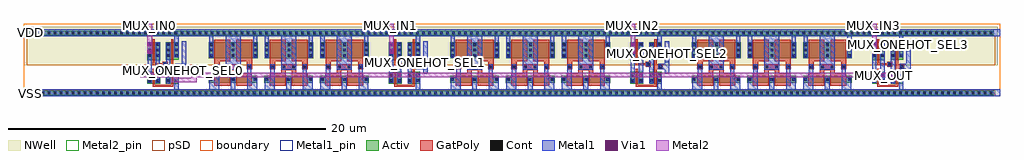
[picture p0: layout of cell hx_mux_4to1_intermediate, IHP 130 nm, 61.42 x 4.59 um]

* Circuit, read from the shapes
.subckt hx_mux_4to1_intermediate MUX_IN0 MUX_IN1 MUX_IN2 MUX_IN3 MUX_ONEHOT_SEL0 MUX_ONEHOT_SEL1 MUX_ONEHOT_SEL2 MUX_ONEHOT_SEL3 MUX_OUT VDD VSS
XM1 MUX_OUT MUX_ONEHOT_SEL0 MUX_IN0 VSS sg13_lv_nmos w=0.74u l=0.13u
XM2 VSS MUX_ONEHOT_SEL0 n1 VSS sg13_lv_nmos w=0.74u l=0.13u
XM3 VSS VDD VSS VSS sg13_lv_nmos w=0.42u l=1u m=18
XM4 MUX_OUT MUX_ONEHOT_SEL1 MUX_IN1 VSS sg13_lv_nmos w=0.74u l=0.13u
XM5 VSS MUX_ONEHOT_SEL1 n2 VSS sg13_lv_nmos w=0.74u l=0.13u
XM6 MUX_OUT MUX_ONEHOT_SEL2 MUX_IN2 VSS sg13_lv_nmos w=0.74u l=0.13u
XM7 VSS MUX_ONEHOT_SEL2 n3 VSS sg13_lv_nmos w=0.74u l=0.13u
XM8 MUX_OUT MUX_ONEHOT_SEL3 MUX_IN3 VSS sg13_lv_nmos w=0.74u l=0.13u
XM9 VSS MUX_ONEHOT_SEL3 n4 VSS sg13_lv_nmos w=0.74u l=0.13u
XM10 MUX_OUT n1 MUX_IN0 VDD sg13_lv_pmos w=1.12u l=0.13u
XM11 VDD MUX_ONEHOT_SEL0 n1 VDD sg13_lv_pmos w=1.12u l=0.13u
XM12 VDD VSS VDD VDD sg13_lv_pmos w=1u l=1u m=18
XM13 MUX_OUT n2 MUX_IN1 VDD sg13_lv_pmos w=1.12u l=0.13u
XM14 VDD MUX_ONEHOT_SEL1 n2 VDD sg13_lv_pmos w=1.12u l=0.13u
XM15 MUX_OUT n3 MUX_IN2 VDD sg13_lv_pmos w=1.12u l=0.13u
XM16 VDD MUX_ONEHOT_SEL2 n3 VDD sg13_lv_pmos w=1.12u l=0.13u
XM17 MUX_OUT n4 MUX_IN3 VDD sg13_lv_pmos w=1.12u l=0.13u
XM18 VDD MUX_ONEHOT_SEL3 n4 VDD sg13_lv_pmos w=1.12u l=0.13u
.ends

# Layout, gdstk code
import gdstk
lib = gdstk.Library(unit=1e-6, precision=1e-09)
def R(c, l, rs):  # rectangles x0, y0, x1, y1
    for r in rs: c.add(gdstk.rectangle(r[:2], r[2:], *l))
def A(c, l, x, y, w, h, nx, ny, dx, dy):  # array of equal rectangles
    R(c, l, [(x+i*dx, y+j*dy, x+i*dx+w, y+j*dy+h) for i in range(nx) for j in range(ny)])
def P(c, l, *ps):  # polygons
    for p in ps: c.add(gdstk.Polygon(p, *l))
Activ = (1, 0)
GatPoly = (5, 0)
Cont = (6, 0)
Metal1 = (8, 0)
Metal1_pin = (8, 2)
Metal2 = (10, 0)
Metal2_pin = (10, 2)
pSD = (14, 0)
Via1 = (19, 0)
NWell = (31, 0)
boundary = (189, 4)

hx_mux_4to1_intermediate = lib.new_cell('hx_mux_4to1_intermediate')
A(hx_mux_4to1_intermediate, Activ, 7.765, 0.81, 0.81, 0.74, 4, 1, 15.2, 0)
A(hx_mux_4to1_intermediate, Activ, 8.935, 0.815, 0.81, 0.74, 4, 1, 15.2, 0)
A(hx_mux_4to1_intermediate, Activ, 11.625, 0.87, 3.06, 0.42, 3, 1, 3.5, 0)
A(hx_mux_4to1_intermediate, Activ, 26.825, 0.87, 3.06, 0.42, 3, 1, 3.5, 0)
A(hx_mux_4to1_intermediate, Activ, 42.025, 0.87, 3.06, 0.42, 3, 1, 3.5, 0)
A(hx_mux_4to1_intermediate, Activ, 7.765, 2.295, 0.81, 1.12, 4, 1, 15.2, 0)
A(hx_mux_4to1_intermediate, Activ, 8.935, 2.3, 0.81, 1.12, 4, 1, 15.2, 0)
A(hx_mux_4to1_intermediate, Activ, 11.635, 2.405, 3.06, 1, 3, 1, 3.5, 0)
A(hx_mux_4to1_intermediate, Activ, 26.835, 2.405, 3.06, 1, 3, 1, 3.5, 0)
A(hx_mux_4to1_intermediate, Activ, 42.035, 2.405, 3.06, 1, 3, 1, 3.5, 0)
R(hx_mux_4to1_intermediate, Activ, [(0.24,0.07,61.04,0.37), (0.24,3.85,61.04,4.15)])
P(hx_mux_4to1_intermediate, GatPoly, [(8.105,0.605),(8.105,1.75),(8.235,1.75),(8.235,0.735),(9.275,0.735),(9.275,3.6),(9.405,3.6),(9.405,2.02),(9.79,2.02),(9.79,1.72),(9.405,1.72),(9.405,0.605)],
  [(8.74,1.875),(8.74,1.96),(8.105,1.96),(8.105,3.595),(8.235,3.595),(8.235,2.095),(8.74,2.095),(8.74,2.175),(9.04,2.175),(9.04,1.875)],
  [(23.305,0.605),(23.305,1.75),(23.435,1.75),(23.435,0.735),(24.475,0.735),(24.475,3.6),(24.605,3.6),(24.605,2.02),(24.99,2.02),(24.99,1.72),(24.605,1.72),(24.605,0.605)],
  [(23.94,1.875),(23.94,1.96),(23.305,1.96),(23.305,3.595),(23.435,3.595),(23.435,2.095),(23.94,2.095),(23.94,2.175),(24.24,2.175),(24.24,1.875)],
  [(38.505,0.605),(38.505,1.75),(38.635,1.75),(38.635,0.735),(39.675,0.735),(39.675,3.6),(39.805,3.6),(39.805,2.02),(40.19,2.02),(40.19,1.72),(39.805,1.72),(39.805,0.605)],
  [(39.14,1.875),(39.14,1.96),(38.505,1.96),(38.505,3.595),(38.635,3.595),(38.635,2.095),(39.14,2.095),(39.14,2.175),(39.44,2.175),(39.44,1.875)],
  [(53.705,0.605),(53.705,1.75),(53.835,1.75),(53.835,0.735),(54.875,0.735),(54.875,3.6),(55.005,3.6),(55.005,2.02),(55.39,2.02),(55.39,1.72),(55.005,1.72),(55.005,0.605)],
  [(54.34,1.875),(54.34,1.96),(53.705,1.96),(53.705,3.595),(53.835,3.595),(53.835,2.095),(54.34,2.095),(54.34,2.175),(54.64,2.175),(54.64,1.875)],
  [(11.965,0.69),(11.965,1.47),(12.69,1.47),(12.69,2.025),(13.625,2.025),(13.625,1.47),(14.345,1.47),(14.345,0.69),(13.345,0.69),(13.345,1.635),(12.965,1.635),(12.965,0.69)],
  [(14.025,1.7),(14.025,2.225),(13.355,2.225),(13.355,3.585),(14.355,3.585),(14.355,1.7)],
  [(11.975,1.7),(11.975,3.585),(12.975,3.585),(12.975,2.225),(12.305,2.225),(12.305,1.7)],
  [(15.465,0.69),(15.465,1.47),(16.19,1.47),(16.19,2.025),(17.125,2.025),(17.125,1.47),(17.845,1.47),(17.845,0.69),(16.845,0.69),(16.845,1.635),(16.465,1.635),(16.465,0.69)],
  [(17.525,1.7),(17.525,2.225),(16.855,2.225),(16.855,3.585),(17.855,3.585),(17.855,1.7)],
  [(15.475,1.7),(15.475,3.585),(16.475,3.585),(16.475,2.225),(15.805,2.225),(15.805,1.7)],
  [(18.965,0.69),(18.965,1.47),(19.69,1.47),(19.69,2.025),(20.625,2.025),(20.625,1.47),(21.345,1.47),(21.345,0.69),(20.345,0.69),(20.345,1.635),(19.965,1.635),(19.965,0.69)],
  [(21.025,1.7),(21.025,2.225),(20.355,2.225),(20.355,3.585),(21.355,3.585),(21.355,1.7)],
  [(18.975,1.7),(18.975,3.585),(19.975,3.585),(19.975,2.225),(19.305,2.225),(19.305,1.7)],
  [(27.165,0.69),(27.165,1.47),(27.89,1.47),(27.89,2.025),(28.825,2.025),(28.825,1.47),(29.545,1.47),(29.545,0.69),(28.545,0.69),(28.545,1.635),(28.165,1.635),(28.165,0.69)],
  [(29.225,1.7),(29.225,2.225),(28.555,2.225),(28.555,3.585),(29.555,3.585),(29.555,1.7)],
  [(27.175,1.7),(27.175,3.585),(28.175,3.585),(28.175,2.225),(27.505,2.225),(27.505,1.7)],
  [(30.665,0.69),(30.665,1.47),(31.39,1.47),(31.39,2.025),(32.325,2.025),(32.325,1.47),(33.045,1.47),(33.045,0.69),(32.045,0.69),(32.045,1.635),(31.665,1.635),(31.665,0.69)],
  [(32.725,1.7),(32.725,2.225),(32.055,2.225),(32.055,3.585),(33.055,3.585),(33.055,1.7)],
  [(30.675,1.7),(30.675,3.585),(31.675,3.585),(31.675,2.225),(31.005,2.225),(31.005,1.7)],
  [(34.165,0.69),(34.165,1.47),(34.89,1.47),(34.89,2.025),(35.825,2.025),(35.825,1.47),(36.545,1.47),(36.545,0.69),(35.545,0.69),(35.545,1.635),(35.165,1.635),(35.165,0.69)],
  [(36.225,1.7),(36.225,2.225),(35.555,2.225),(35.555,3.585),(36.555,3.585),(36.555,1.7)],
  [(34.175,1.7),(34.175,3.585),(35.175,3.585),(35.175,2.225),(34.505,2.225),(34.505,1.7)],
  [(42.365,0.69),(42.365,1.47),(43.09,1.47),(43.09,2.025),(44.025,2.025),(44.025,1.47),(44.745,1.47),(44.745,0.69),(43.745,0.69),(43.745,1.635),(43.365,1.635),(43.365,0.69)],
  [(44.425,1.7),(44.425,2.225),(43.755,2.225),(43.755,3.585),(44.755,3.585),(44.755,1.7)],
  [(42.375,1.7),(42.375,3.585),(43.375,3.585),(43.375,2.225),(42.705,2.225),(42.705,1.7)],
  [(45.865,0.69),(45.865,1.47),(46.59,1.47),(46.59,2.025),(47.525,2.025),(47.525,1.47),(48.245,1.47),(48.245,0.69),(47.245,0.69),(47.245,1.635),(46.865,1.635),(46.865,0.69)],
  [(47.925,1.7),(47.925,2.225),(47.255,2.225),(47.255,3.585),(48.255,3.585),(48.255,1.7)],
  [(45.875,1.7),(45.875,3.585),(46.875,3.585),(46.875,2.225),(46.205,2.225),(46.205,1.7)],
  [(49.365,0.69),(49.365,1.47),(50.09,1.47),(50.09,2.025),(51.025,2.025),(51.025,1.47),(51.745,1.47),(51.745,0.69),(50.745,0.69),(50.745,1.635),(50.365,1.635),(50.365,0.69)],
  [(51.425,1.7),(51.425,2.225),(50.755,2.225),(50.755,3.585),(51.755,3.585),(51.755,1.7)],
  [(49.375,1.7),(49.375,3.585),(50.375,3.585),(50.375,2.225),(49.705,2.225),(49.705,1.7)])
A(hx_mux_4to1_intermediate, Cont, 0.35, 0.14, 0.16, 0.16, 160, 2, 0.38, 3.78)
A(hx_mux_4to1_intermediate, Cont, 11.695, 1, 0.16, 0.16, 3, 1, 1.38, 0)
A(hx_mux_4to1_intermediate, Cont, 15.195, 1, 0.16, 0.16, 3, 1, 1.38, 0)
A(hx_mux_4to1_intermediate, Cont, 18.695, 1, 0.16, 0.16, 3, 1, 1.38, 0)
A(hx_mux_4to1_intermediate, Cont, 26.895, 1, 0.16, 0.16, 3, 1, 1.38, 0)
A(hx_mux_4to1_intermediate, Cont, 30.395, 1, 0.16, 0.16, 3, 1, 1.38, 0)
A(hx_mux_4to1_intermediate, Cont, 33.895, 1, 0.16, 0.16, 3, 1, 1.38, 0)
A(hx_mux_4to1_intermediate, Cont, 42.095, 1, 0.16, 0.16, 3, 1, 1.38, 0)
A(hx_mux_4to1_intermediate, Cont, 45.595, 1, 0.16, 0.16, 3, 1, 1.38, 0)
A(hx_mux_4to1_intermediate, Cont, 49.095, 1, 0.16, 0.16, 3, 1, 1.38, 0)
A(hx_mux_4to1_intermediate, Cont, 9.56, 1.79, 0.16, 0.16, 4, 1, 15.2, 0)
A(hx_mux_4to1_intermediate, Cont, 8.81, 1.945, 0.16, 0.16, 4, 1, 15.2, 0)
A(hx_mux_4to1_intermediate, Cont, 11.705, 2.495, 0.16, 0.16, 3, 3, 1.38, 0.34)
A(hx_mux_4to1_intermediate, Cont, 15.205, 2.495, 0.16, 0.16, 3, 3, 1.38, 0.34)
A(hx_mux_4to1_intermediate, Cont, 18.705, 2.495, 0.16, 0.16, 3, 3, 1.38, 0.34)
A(hx_mux_4to1_intermediate, Cont, 26.905, 2.495, 0.16, 0.16, 3, 3, 1.38, 0.34)
A(hx_mux_4to1_intermediate, Cont, 30.405, 2.495, 0.16, 0.16, 3, 3, 1.38, 0.34)
A(hx_mux_4to1_intermediate, Cont, 33.905, 2.495, 0.16, 0.16, 3, 3, 1.38, 0.34)
A(hx_mux_4to1_intermediate, Cont, 42.105, 2.495, 0.16, 0.16, 3, 3, 1.38, 0.34)
A(hx_mux_4to1_intermediate, Cont, 45.605, 2.495, 0.16, 0.16, 3, 3, 1.38, 0.34)
A(hx_mux_4to1_intermediate, Cont, 49.105, 2.495, 0.16, 0.16, 3, 3, 1.38, 0.34)
A(hx_mux_4to1_intermediate, Cont, 7.835, 2.505, 0.16, 0.16, 1, 3, 0, 0.34)
A(hx_mux_4to1_intermediate, Cont, 8.345, 2.505, 0.16, 0.16, 1, 3, 0, 0.34)
A(hx_mux_4to1_intermediate, Cont, 9.005, 2.505, 0.16, 0.16, 1, 3, 0, 0.34)
A(hx_mux_4to1_intermediate, Cont, 9.515, 2.505, 0.16, 0.16, 1, 3, 0, 0.34)
A(hx_mux_4to1_intermediate, Cont, 23.035, 2.505, 0.16, 0.16, 1, 3, 0, 0.34)
A(hx_mux_4to1_intermediate, Cont, 23.545, 2.505, 0.16, 0.16, 1, 3, 0, 0.34)
A(hx_mux_4to1_intermediate, Cont, 24.205, 2.505, 0.16, 0.16, 1, 3, 0, 0.34)
A(hx_mux_4to1_intermediate, Cont, 24.715, 2.505, 0.16, 0.16, 1, 3, 0, 0.34)
A(hx_mux_4to1_intermediate, Cont, 38.235, 2.505, 0.16, 0.16, 1, 3, 0, 0.34)
A(hx_mux_4to1_intermediate, Cont, 38.745, 2.505, 0.16, 0.16, 1, 3, 0, 0.34)
A(hx_mux_4to1_intermediate, Cont, 39.405, 2.505, 0.16, 0.16, 1, 3, 0, 0.34)
A(hx_mux_4to1_intermediate, Cont, 39.915, 2.505, 0.16, 0.16, 1, 3, 0, 0.34)
A(hx_mux_4to1_intermediate, Cont, 53.435, 2.505, 0.16, 0.16, 1, 3, 0, 0.34)
A(hx_mux_4to1_intermediate, Cont, 53.945, 2.505, 0.16, 0.16, 1, 3, 0, 0.34)
A(hx_mux_4to1_intermediate, Cont, 54.605, 2.505, 0.16, 0.16, 1, 3, 0, 0.34)
A(hx_mux_4to1_intermediate, Cont, 55.115, 2.505, 0.16, 0.16, 1, 3, 0, 0.34)
R(hx_mux_4to1_intermediate, Cont, [(7.835,0.92,7.995,1.08), (8.345,0.92,8.505,1.08), (9.005,0.92,9.165,1.08), (9.515,0.92,9.675,1.08), (23.035,0.92,23.195,1.08), (23.545,0.92,23.705,1.08), (24.205,0.92,24.365,1.08), (24.715,0.92,24.875,1.08), (38.235,0.92,38.395,1.08), (38.745,0.92,38.905,1.08), (39.405,0.92,39.565,1.08), (39.915,0.92,40.075,1.08), (53.435,0.92,53.595,1.08), (53.945,0.92,54.105,1.08), (54.605,0.92,54.765,1.08), (55.115,0.92,55.275,1.08), (7.835,1.26,7.995,1.42), (8.345,1.26,8.505,1.42), (9.005,1.26,9.165,1.42), (9.515,1.26,9.675,1.42), (23.035,1.26,23.195,1.42), (23.545,1.26,23.705,1.42), (24.205,1.26,24.365,1.42), (24.715,1.26,24.875,1.42), (38.235,1.26,38.395,1.42), (38.745,1.26,38.905,1.42), (39.405,1.26,39.565,1.42), (39.915,1.26,40.075,1.42), (53.435,1.26,53.595,1.42), (53.945,1.26,54.105,1.42), (54.605,1.26,54.765,1.42), (55.115,1.26,55.275,1.42), (12.77,1.775,12.93,1.935), (13.375,1.775,13.535,1.935), (16.27,1.775,16.43,1.935), (16.875,1.775,17.035,1.935), (19.77,1.775,19.93,1.935), (20.375,1.775,20.535,1.935), (27.97,1.775,28.13,1.935), (28.575,1.775,28.735,1.935), (31.47,1.775,31.63,1.935), (32.075,1.775,32.235,1.935), (34.97,1.775,35.13,1.935), (35.575,1.775,35.735,1.935), (43.17,1.775,43.33,1.935), (43.775,1.775,43.935,1.935), (46.67,1.775,46.83,1.935), (47.275,1.775,47.435,1.935), (50.17,1.775,50.33,1.935), (50.775,1.775,50.935,1.935), (12.06,1.78,12.22,1.94), (14.1,1.78,14.26,1.94), (15.56,1.78,15.72,1.94), (17.6,1.78,17.76,1.94), (19.06,1.78,19.22,1.94), (21.1,1.78,21.26,1.94), (27.26,1.78,27.42,1.94), (29.3,1.78,29.46,1.94), (30.76,1.78,30.92,1.94), (32.8,1.78,32.96,1.94), (34.26,1.78,34.42,1.94), (36.3,1.78,36.46,1.94), (42.46,1.78,42.62,1.94), (44.5,1.78,44.66,1.94), (45.96,1.78,46.12,1.94), (48,1.78,48.16,1.94), (49.46,1.78,49.62,1.94), (51.5,1.78,51.66,1.94)])
A(hx_mux_4to1_intermediate, Metal1, 9.465, 0.44, 0.26, 1.03, 4, 1, 15.2, 0)
A(hx_mux_4to1_intermediate, Metal1, 13, 0.44, 0.305, 0.81, 3, 1, 3.5, 0)
A(hx_mux_4to1_intermediate, Metal1, 28.2, 0.44, 0.305, 0.81, 3, 1, 3.5, 0)
A(hx_mux_4to1_intermediate, Metal1, 43.4, 0.44, 0.305, 0.81, 3, 1, 3.5, 0)
A(hx_mux_4to1_intermediate, Metal1, 8.295, 0.855, 0.26, 2.555, 4, 1, 15.2, 0)
A(hx_mux_4to1_intermediate, Metal1, 12.69, 1.695, 0.935, 2.085, 3, 1, 3.5, 0)
A(hx_mux_4to1_intermediate, Metal1, 27.89, 1.695, 0.935, 2.085, 3, 1, 3.5, 0)
A(hx_mux_4to1_intermediate, Metal1, 43.09, 1.695, 0.935, 2.085, 3, 1, 3.5, 0)
A(hx_mux_4to1_intermediate, Metal1, 11.655, 2.425, 0.26, 1.355, 3, 1, 3.5, 0)
A(hx_mux_4to1_intermediate, Metal1, 26.855, 2.425, 0.26, 1.355, 3, 1, 3.5, 0)
A(hx_mux_4to1_intermediate, Metal1, 42.055, 2.425, 0.26, 1.355, 3, 1, 3.5, 0)
A(hx_mux_4to1_intermediate, Metal1, 14.415, 2.43, 0.26, 1.35, 3, 1, 3.5, 0)
A(hx_mux_4to1_intermediate, Metal1, 29.615, 2.43, 0.26, 1.35, 3, 1, 3.5, 0)
A(hx_mux_4to1_intermediate, Metal1, 44.815, 2.43, 0.26, 1.35, 3, 1, 3.5, 0)
A(hx_mux_4to1_intermediate, Metal1, 9.465, 2.455, 0.26, 1.325, 4, 1, 15.2, 0)
R(hx_mux_4to1_intermediate, Metal1, [(0.24,0,61.42,0.44), (0.24,3.78,61.42,4.22)])
P(hx_mux_4to1_intermediate, Metal1, [(8.955,0.835),(8.955,1.895),(8.76,1.895),(8.76,2.14),(8.955,2.14),(8.955,3.395),(9.215,3.395),(9.215,0.835)],
  [(9.925,1.43),(9.925,1.72),(9.51,1.72),(9.51,2.06),(9.925,2.06),(9.925,3.47),(10.215,3.47),(10.215,1.43)],
  [(7.785,0.87),(7.785,2.695),(7.77,2.695),(7.77,3.415),(8.06,3.415),(8.06,2.695),(8.045,2.695),(8.045,0.87)],
  [(24.155,0.835),(24.155,1.895),(23.96,1.895),(23.96,2.14),(24.155,2.14),(24.155,3.395),(24.415,3.395),(24.415,0.835)],
  [(25.125,1.43),(25.125,1.72),(24.71,1.72),(24.71,2.06),(25.125,2.06),(25.125,3.47),(25.415,3.47),(25.415,1.43)],
  [(22.985,0.87),(22.985,2.695),(22.97,2.695),(22.97,3.415),(23.26,3.415),(23.26,2.695),(23.245,2.695),(23.245,0.87)],
  [(39.355,0.835),(39.355,1.895),(39.16,1.895),(39.16,2.14),(39.355,2.14),(39.355,3.395),(39.615,3.395),(39.615,0.835)],
  [(40.325,1.43),(40.325,1.72),(39.91,1.72),(39.91,2.06),(40.325,2.06),(40.325,3.47),(40.615,3.47),(40.615,1.43)],
  [(38.185,0.87),(38.185,2.695),(38.17,2.695),(38.17,3.415),(38.46,3.415),(38.46,2.695),(38.445,2.695),(38.445,0.87)],
  [(54.555,0.835),(54.555,1.895),(54.36,1.895),(54.36,2.14),(54.555,2.14),(54.555,3.395),(54.815,3.395),(54.815,0.835)],
  [(55.525,1.43),(55.525,1.72),(55.11,1.72),(55.11,2.06),(55.525,2.06),(55.525,3.47),(55.815,3.47),(55.815,1.43)],
  [(53.385,0.87),(53.385,2.695),(53.37,2.695),(53.37,3.415),(53.66,3.415),(53.66,2.695),(53.645,2.695),(53.645,0.87)],
  [(11.645,0.44),(11.645,1.21),(11.99,1.21),(11.99,2.03),(12.28,2.03),(12.28,0.44)],
  [(14.055,0.44),(14.055,2.03),(14.305,2.03),(14.305,1.21),(14.665,1.21),(14.665,0.44)],
  [(15.145,0.44),(15.145,1.21),(15.49,1.21),(15.49,2.03),(15.78,2.03),(15.78,0.44)],
  [(17.555,0.44),(17.555,2.03),(17.805,2.03),(17.805,1.21),(18.165,1.21),(18.165,0.44)],
  [(18.645,0.44),(18.645,1.21),(18.99,1.21),(18.99,2.03),(19.28,2.03),(19.28,0.44)],
  [(21.055,0.44),(21.055,2.03),(21.305,2.03),(21.305,1.21),(21.665,1.21),(21.665,0.44)],
  [(26.845,0.44),(26.845,1.21),(27.19,1.21),(27.19,2.03),(27.48,2.03),(27.48,0.44)],
  [(29.255,0.44),(29.255,2.03),(29.505,2.03),(29.505,1.21),(29.865,1.21),(29.865,0.44)],
  [(30.345,0.44),(30.345,1.21),(30.69,1.21),(30.69,2.03),(30.98,2.03),(30.98,0.44)],
  [(32.755,0.44),(32.755,2.03),(33.005,2.03),(33.005,1.21),(33.365,1.21),(33.365,0.44)],
  [(33.845,0.44),(33.845,1.21),(34.19,1.21),(34.19,2.03),(34.48,2.03),(34.48,0.44)],
  [(36.255,0.44),(36.255,2.03),(36.505,2.03),(36.505,1.21),(36.865,1.21),(36.865,0.44)],
  [(42.045,0.44),(42.045,1.21),(42.39,1.21),(42.39,2.03),(42.68,2.03),(42.68,0.44)],
  [(44.455,0.44),(44.455,2.03),(44.705,2.03),(44.705,1.21),(45.065,1.21),(45.065,0.44)],
  [(45.545,0.44),(45.545,1.21),(45.89,1.21),(45.89,2.03),(46.18,2.03),(46.18,0.44)],
  [(47.955,0.44),(47.955,2.03),(48.205,2.03),(48.205,1.21),(48.565,1.21),(48.565,0.44)],
  [(49.045,0.44),(49.045,1.21),(49.39,1.21),(49.39,2.03),(49.68,2.03),(49.68,0.44)],
  [(51.455,0.44),(51.455,2.03),(51.705,2.03),(51.705,1.21),(52.065,1.21),(52.065,0.44)])
A(hx_mux_4to1_intermediate, Metal1_pin, 8.31, 3.78, 14.41, 0.44, 3, 1, 15.2, 0)
R(hx_mux_4to1_intermediate, Metal1_pin, [(0.24,0,61.04,0.44), (9.925,1.43,10.215,2.06), (25.125,1.72,25.415,2.41), (40.325,2.14,40.615,2.94), (55.525,2.84,55.815,3.47), (0.24,3.78,7.52,4.22), (53.91,3.78,61.04,4.22)])
A(hx_mux_4to1_intermediate, Metal2, 7.77, 2.695, 0.29, 1.895, 4, 1, 15.2, 0)
P(hx_mux_4to1_intermediate, Metal2, [(9.27,0.88),(9.27,1.195),(7.31,1.195),(7.31,1.485),(9.56,1.485),(9.56,1.17),(10.57,1.17),(10.57,1.485),(54.68,1.485),(54.68,1.195),(10.86,1.195),(10.86,0.88)])
A(hx_mux_4to1_intermediate, Metal2_pin, 7.77, 3.79, 0.29, 0.8, 4, 1, 15.2, 0)
R(hx_mux_4to1_intermediate, Metal2_pin, [(53.88,1.195,54.68,1.485)])
A(hx_mux_4to1_intermediate, pSD, 11.4, 1.98, 3.5, 1.84, 3, 1, 3.5, 0)
A(hx_mux_4to1_intermediate, pSD, 26.6, 1.98, 3.5, 1.84, 3, 1, 3.5, 0)
A(hx_mux_4to1_intermediate, pSD, 41.8, 1.98, 3.5, 1.84, 3, 1, 3.5, 0)
R(hx_mux_4to1_intermediate, pSD, [(0.21,0.04,61.11,0.4), (0.17,1.98,61.12,3.82)])
A(hx_mux_4to1_intermediate, Via1, 8.33, 1.245, 0.19, 0.19, 4, 1, 15.2, 0)
A(hx_mux_4to1_intermediate, Via1, 7.82, 2.745, 0.19, 0.19, 4, 2, 15.2, 0.43)
A(hx_mux_4to1_intermediate, NWell, 11.23, 1.97, 3.84, 2.42, 3, 1, 3.5, 0)
A(hx_mux_4to1_intermediate, NWell, 26.43, 1.97, 3.84, 2.42, 3, 1, 3.5, 0)
A(hx_mux_4to1_intermediate, NWell, 41.63, 1.97, 3.84, 2.42, 3, 1, 3.5, 0)
R(hx_mux_4to1_intermediate, NWell, [(0,1.97,61.28,4.39)])
R(hx_mux_4to1_intermediate, boundary, [(0,0,61.42,4.59)])
hx_mux_4to1_intermediate.add(gdstk.Label('VSS', (0.415,0.21), layer=8, texttype=25))
hx_mux_4to1_intermediate.add(gdstk.Label('VDD', (0.42,3.995), layer=8, texttype=25))
hx_mux_4to1_intermediate.add(gdstk.Label('MUX_ONEHOT_SEL0', (10.055,1.64), layer=8, texttype=25))
hx_mux_4to1_intermediate.add(gdstk.Label('MUX_ONEHOT_SEL1', (25.26,2.165), layer=8, texttype=25))
hx_mux_4to1_intermediate.add(gdstk.Label('MUX_ONEHOT_SEL2', (40.465,2.72), layer=8, texttype=25))
hx_mux_4to1_intermediate.add(gdstk.Label('MUX_ONEHOT_SEL3', (55.655,3.24), layer=8, texttype=25))
hx_mux_4to1_intermediate.add(gdstk.Label('MUX_OUT', (54.065,1.31), layer=10, texttype=25))
hx_mux_4to1_intermediate.add(gdstk.Label('MUX_IN0', (7.885,4.465), layer=10, texttype=25))
hx_mux_4to1_intermediate.add(gdstk.Label('MUX_IN1', (23.085,4.465), layer=10, texttype=25))
hx_mux_4to1_intermediate.add(gdstk.Label('MUX_IN2', (38.285,4.465), layer=10, texttype=25))
hx_mux_4to1_intermediate.add(gdstk.Label('MUX_IN3', (53.485,4.465), layer=10, texttype=25))

lib.write_gds('hx_mux_4to1_intermediate.gds')
